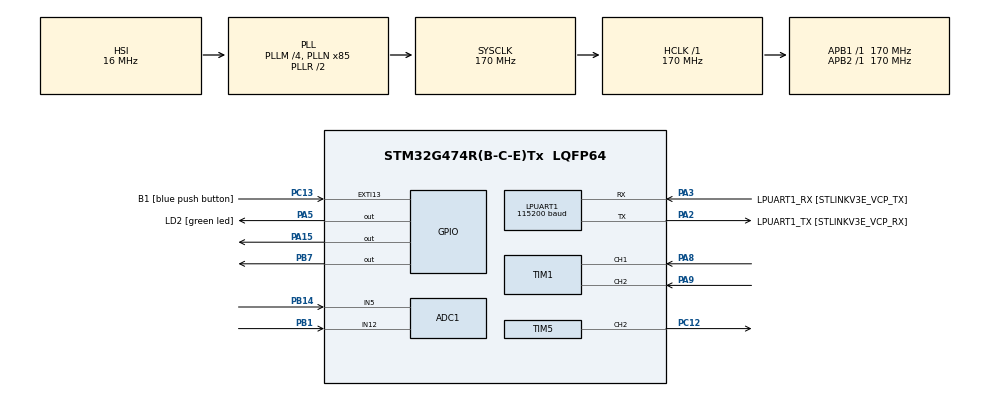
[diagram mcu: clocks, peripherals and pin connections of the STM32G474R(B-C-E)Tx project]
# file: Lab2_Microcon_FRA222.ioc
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ADC1.Channel-2\#ChannelRegularConversion=ADC_CHANNEL_5
ADC1.Channel-3\#ChannelRegularConversion=ADC_CHANNEL_12
ADC1.ContinuousConvMode=ENABLE
ADC1.DMAContinuousRequests=ENABLE
ADC1.NbrOfConversion=2
ADC1.NbrOfConversionFlag=1
ADC1.OffsetNumber-2\#ChannelRegularConversion=ADC_OFFSET_NONE
ADC1.OffsetNumber-3\#ChannelRegularConversion=ADC_OFFSET_NONE
ADC1.Rank-2\#ChannelRegularConversion=1
ADC1.Rank-3\#ChannelRegularConversion=2
ADC1.SamplingTime-2\#ChannelRegularConversion=ADC_SAMPLETIME_640CYCLES_5
ADC1.SamplingTime-3\#ChannelRegularConversion=ADC_SAMPLETIME_640CYCLES_5
ADC1.master=1
ARM.CMSIS-DSP.1.15.0.CMSISJjDSP=Source
ARM.CMSIS.6.0.0.CMSISJjCORE=true
Dma.ADC1.0.Direction=DMA_PERIPH_TO_MEMORY
Dma.ADC1.0.EventEnable=DISABLE
Dma.ADC1.0.Instance=DMA1_Channel1
Dma.ADC1.0.MemDataAlignment=DMA_MDATAALIGN_HALFWORD
Dma.ADC1.0.MemInc=DMA_MINC_ENABLE
Dma.ADC1.0.Mode=DMA_CIRCULAR
Dma.ADC1.0.PeriphDataAlignment=DMA_PDATAALIGN_HALFWORD
Dma.ADC1.0.PeriphInc=DMA_PINC_DISABLE
Dma.ADC1.0.Polarity=HAL_DMAMUX_REQ_GEN_RISING
Dma.ADC1.0.Priority=DMA_PRIORITY_LOW
Dma.ADC1.0.RequestNumber=1
Dma.ADC1.0.SignalID=NONE
Dma.ADC1.0.SyncEnable=DISABLE
Dma.ADC1.0.SyncPolarity=HAL_DMAMUX_SYNC_NO_EVENT
Dma.ADC1.0.SyncRequestNumber=1
Dma.ADC1.0.SyncSignalID=NONE
Dma.Request0=ADC1
LPUART1.BaudRate=115200
LPUART1.WordLength=UART_WORDLENGTH_8B
Mcu.Family=STM32G4
Mcu.Name=STM32G474R(B-C-E)Tx
Mcu.Package=LQFP64
NVIC.ADC1_2_IRQn=true\:0\:0\:false\:false\:true\:true\:true\:true
NVIC.DMA1_Channel1_IRQn=true\:0\:0\:false\:false\:true\:false\:true\:true
NVIC.EXTI15_10_IRQn=true\:0\:0\:false\:false\:true\:true\:true\:true
NVIC.PriorityGroup=NVIC_PRIORITYGROUP_4
NVIC.TIM2_IRQn=true\:0\:0\:false\:false\:true\:true\:true\:true
NVIC.TIM3_IRQn=true\:0\:0\:false\:false\:true\:true\:true\:true
PA0.Signal=ADC1_IN1
PA13.GPIO_Label=T_SWDIO
PA13.Mode=Trace_Asynchronous_SW
PA13.Signal=SYS_JTMS-SWDIO
PA14.GPIO_Label=T_SWCLK
PA14.Mode=Trace_Asynchronous_SW
PA14.Signal=SYS_JTCK-SWCLK
PA15.Signal=GPIO_Output
PA2.GPIO_Label=LPUART1_TX [STLINKV3E_VCP_RX]
PA2.Mode=Asynchronous
PA2.Signal=LPUART1_TX
PA3.GPIO_Label=LPUART1_RX [STLINKV3E_VCP_TX]
PA3.Mode=Asynchronous
PA3.Signal=LPUART1_RX
PA5.GPIO_Label=LD2 [green led]
PA5.Signal=GPIO_Output
PA8.Signal=S_TIM1_CH1
PA9.Signal=S_TIM1_CH2
PB1.Mode=IN12-Single-Ended
PB1.Signal=ADC1_IN12
PB14.Mode=IN5-Single-Ended
PB14.Signal=ADC1_IN5
PB3.GPIO_Label=T_SWO
PB3.Mode=Trace_Asynchronous_SW
PB3.Signal=SYS_JTDO-SWO
PB7.Signal=GPIO_Output
PC12.Signal=S_TIM5_CH2
PC13.GPIO_Label=B1 [blue push button]
PC13.Signal=GPXTI13
PC14-OSC32_IN.Mode=LSE-External-Oscillator
PC14-OSC32_IN.Signal=RCC_OSC32_IN
PC15-OSC32_OUT.Mode=LSE-External-Oscillator
PC15-OSC32_OUT.Signal=RCC_OSC32_OUT
PF0-OSC_IN.Mode=HSE-External-Oscillator
PF0-OSC_IN.Signal=RCC_OSC_IN
PF1-OSC_OUT.Mode=HSE-External-Oscillator
PF1-OSC_OUT.Signal=RCC_OSC_OUT
ProjectManager.HeapSize=0x200
ProjectManager.StackSize=0x400
ProjectManager.TargetToolchain=STM32CubeIDE
RCC.ADC12Freq_Value=170000000
RCC.ADC345Freq_Value=170000000
RCC.AHBFreq_Value=170000000
RCC.APB1Freq_Value=170000000
RCC.APB1TimFreq_Value=170000000
RCC.APB2Freq_Value=170000000
RCC.APB2TimFreq_Value=170000000
RCC.CortexFreq_Value=170000000
RCC.EXTERNAL_CLOCK_VALUE=12288000
RCC.HCLKFreq_Value=170000000
RCC.HSE_VALUE=24000000
RCC.HSI48_VALUE=48000000
RCC.HSI_VALUE=16000000
RCC.PLLM=RCC_PLLM_DIV4
RCC.PLLN=85
RCC.RTCClockSelection=RCC_RTCCLKSOURCE_LSE
RCC.SYSCLKFreq_VALUE=170000000
RCC.SYSCLKSource=RCC_SYSCLKSOURCE_PLLCLK
RCC.USBFreq_Value=170000000
RCC.VCOOutputFreq_Value=340000000
SH.S_TIM1_CH1.0=TIM1_CH1,Encoder_Interface
SH.S_TIM1_CH2.0=TIM1_CH2,Encoder_Interface
SH.S_TIM5_CH2.0=TIM5_CH2,PWM Generation2 CH2
TIM1.EncoderMode=TIM_ENCODERMODE_TI12
TIM1.IC1Filter=2
TIM2.PeriodNoDither=4294967295
TIM2.Prescaler=169
TIM2.TIM_MasterOutputTrigger=TIM_TRGO_RESET
TIM3.PeriodNoDither=999
TIM3.Prescaler=169
TIM3.TIM_MasterOutputTrigger=TIM_TRGO_RESET
TIM5.Channel-PWM\ Generation2\ CH2=TIM_CHANNEL_2
TIM5.PeriodNoDither=29999
TIM5.Prescaler=3
VP_ARM.CMSIS-DSP_VS_CMSISJjDSP_1.15.0_1.15.0.Mode=CMSISJjDSP
VP_ARM.CMSIS_VS_CMSISJjCORE_6.0.0_6.0.0.Mode=CMSISJjCORE
VP_SYS_VS_DBSignals.Mode=DisableDeadBatterySignals
VP_TIM2_VS_ClockSourceINT.Mode=Internal
VP_TIM3_VS_ClockSourceINT.Mode=Internal
VP_TIM5_VS_ClockSourceINT.Mode=Internal
board=NUCLEO-G474RE

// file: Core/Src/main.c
/* USER CODE BEGIN Header */
/**
 ******************************************************************************
 * @file           : main.c
 * @brief          : Main program body
 ******************************************************************************
 * @attention
 *
 * Copyright (c) 2024 STMicroelectronics.
 * All rights reserved.
 *
 * This software is licensed under terms that can be found in the LICENSE file
 * in the root directory of this software component.
 * If no LICENSE file comes with this software, it is provided AS-IS.
 *
 ******************************************************************************
 */
/* USER CODE END Header */
#include "main.h"

/* USER CODE BEGIN Includes */
#include "arm_math.h"
#include "math.h"
/* USER CODE END Includes */

ADC_HandleTypeDef hadc1;
DMA_HandleTypeDef hdma_adc1;

UART_HandleTypeDef hlpuart1;

TIM_HandleTypeDef htim1;
TIM_HandleTypeDef htim2;
TIM_HandleTypeDef htim3;
TIM_HandleTypeDef htim5;

/* USER CODE BEGIN PV */
//int set_pos = 0;
float pi = 3.1415926535897932384626433832795;
//float di_pulley = 24.95;

arm_pid_instance_f32 PID = { 0 };
uint32_t QEI_raw = 0;
float QEI_mm = 0;
float set_point = 0;
float en_motor = 0;
float PWMset = 0;
float diffpos = 0;
uint32_t Vfeedback = 0;
uint8_t condi = 0;

uint16_t ADC[2] = { 0 };

uint16_t sen_top = 0;
uint16_t sen_bot = 0;

uint32_t time = 0;

/*-----------------------------------*/
float32_t kp = 0;
float32_t ki = 0;
float32_t kd = 0;
uint32_t Now = 0;
uint32_t Lastime = 0;
float error = 0;
float errorsum = 0;
float Iterm = 0;
float dinput = 0;
float Lasterror = 0;
float speed = 0;
float LastPos = 0;
float Dis_down = 0;
float dt_velo = 0;
float dt_acc = 0;
uint8_t finish_state = 0;

/*--------------------------------------------------*/
float Vmax = 550.0; // mm/s
float Amax = 900.0; // mm/s^2
float Distance = 0;
float t = 0;
float temp_pos_acc = 0;
float temp_pos_const = 0;
float temp_v_acc = 0;
int temp = 0;
float Distance_Velo_Max = 0;
float traj[3];
float pos = 0;
float trajec_target = 0;

float Time_acc = 0;
float Time_acc_tri = 0;
float Time_dec = 0;
float Time_const = 0;
float time_now = 0;
float Timestamp = 0;
float QEI_start = 0;
float tim_velo_new = 0;
float tim_velo_last = 0;
float tim_acc_new = 0;
float tim_acc_last = 0;
float velo_new = 0;
float velo_last = 0;
float acc = 0;
uint8_t trajec_state = 0;

uint8_t temp_check = 0;
//uint32_t Position[2];
//uint64_t TimeStamp[2];

/* USER CODE END PV */

void SystemClock_Config(void);
static void MX_GPIO_Init(void);
static void MX_DMA_Init(void);
static void MX_LPUART1_UART_Init(void);
static void MX_TIM2_Init(void);
static void MX_ADC1_Init(void);
static void MX_TIM1_Init(void);
static void MX_TIM5_Init(void);
static void MX_TIM3_Init(void);
/* USER CODE BEGIN PFP */
void PID_Tuning();
void sensor();
void reset_pos();
void HomemadePID();
void Trajectory();
void changeUnit();
void speedread();
/* USER CODE END PFP */

int main(void)
{

  /* MCU Configuration--------------------------------------------------------*/

  /* Reset of all peripherals, Initializes the Flash interface and the Systick. */
  HAL_Init();

  /* Configure the system clock */
  SystemClock_Config();

  /* Initialize all configured peripherals */
  MX_GPIO_Init();
  MX_DMA_Init();
  MX_LPUART1_UART_Init();
  MX_TIM2_Init();
  MX_ADC1_Init();
  MX_TIM1_Init();
  MX_TIM5_Init();
  MX_TIM3_Init();
  /* USER CODE BEGIN 2 */
//	PID.Kp = 1;
//	PID.Ki = 0.04291992;
//	PID.Kd = 0;
//	arm_pid_init_f32(&PID, 0);

//	kp = 510;
//	ki = 10;
//	kd = 0.01;

	HAL_TIM_PWM_Start(&htim5, TIM_CHANNEL_2);
	__HAL_TIM_SET_COMPARE(&htim5, TIM_CHANNEL_2, 0);
	HAL_TIM_Base_Start(&htim2);

	HAL_ADCEx_Calibration_Start(&hadc1, ADC_SINGLE_ENDED);
	HAL_ADC_Start_DMA(&hadc1, ADC, 2);
	reset_pos();

	HAL_TIM_Encoder_Start(&htim1,TIM_CHANNEL_ALL);
	trajec_target = -10;

	HAL_TIM_Base_Start_IT(&htim3);

  /* USER CODE END 2 */

  /* Infinite loop */
	while (1) {

    /* USER CODE BEGIN 3 */
//		if(temp == 10){
//			set_point = 300;
//		}
		QEI_raw = __HAL_TIM_GET_COUNTER(&htim1);
		changeUnit();
		sensor();
//		if(sen_top < 2048 || sen_bot < 2048){
//			if(trajec_target >= 0 && trajec_state == 0){
//				QEI_start = QEI_mm;
//			}
//			Trajectory();
//			HomemadePID();
//			speedread();
//		}
//		else if(sen_top > 2048 || sen_bot > 2048){
//			HAL_GPIO_WritePin(GPIOA, GPIO_PIN_15,0);
//			HAL_GPIO_WritePin(GPIOB, GPIO_PIN_7,0);
//			__HAL_TIM_SET_COMPARE(&htim5, TIM_CHANNEL_2,10000);
//		}

		if(trajec_target >= 0 && trajec_state == 0){
			QEI_start = QEI_mm;
		}
		Trajectory();
		HomemadePID();
//		PID_Tuning();
		speedread();
		accelread();

	}
  /* USER CODE END 3 */
}

void SystemClock_Config(void)
{
  RCC_OscInitTypeDef RCC_OscInitStruct = {0};
  RCC_ClkInitTypeDef RCC_ClkInitStruct = {0};

  /** Configure the main internal regulator output voltage
  */
  HAL_PWREx_ControlVoltageScaling(PWR_REGULATOR_VOLTAGE_SCALE1_BOOST);

  /** Initializes the RCC Oscillators according to the specified parameters
  * in the RCC_OscInitTypeDef structure.
  */
  RCC_OscInitStruct.OscillatorType = RCC_OSCILLATORTYPE_HSI;
  RCC_OscInitStruct.HSIState = RCC_HSI_ON;
  RCC_OscInitStruct.HSICalibrationValue = RCC_HSICALIBRATION_DEFAULT;
  RCC_OscInitStruct.PLL.PLLState = RCC_PLL_ON;
  RCC_OscInitStruct.PLL.PLLSource = RCC_PLLSOURCE_HSI;
  RCC_OscInitStruct.PLL.PLLM = RCC_PLLM_DIV4;
  RCC_OscInitStruct.PLL.PLLN = 85;
  RCC_OscInitStruct.PLL.PLLP = RCC_PLLP_DIV2;
  RCC_OscInitStruct.PLL.PLLQ = RCC_PLLQ_DIV2;
  RCC_OscInitStruct.PLL.PLLR = RCC_PLLR_DIV2;
  if (HAL_RCC_OscConfig(&RCC_OscInitStruct) != HAL_OK)
  {
    Error_Handler();
  }

  /** Initializes the CPU, AHB and APB buses clocks
  */
  RCC_ClkInitStruct.ClockType = RCC_CLOCKTYPE_HCLK|RCC_CLOCKTYPE_SYSCLK
                              |RCC_CLOCKTYPE_PCLK1|RCC_CLOCKTYPE_PCLK2;
  RCC_ClkInitStruct.SYSCLKSource = RCC_SYSCLKSOURCE_PLLCLK;
  RCC_ClkInitStruct.AHBCLKDivider = RCC_SYSCLK_DIV1;
  RCC_ClkInitStruct.APB1CLKDivider = RCC_HCLK_DIV1;
  RCC_ClkInitStruct.APB2CLKDivider = RCC_HCLK_DIV1;

  if (HAL_RCC_ClockConfig(&RCC_ClkInitStruct, FLASH_LATENCY_4) != HAL_OK)
  {
    Error_Handler();
  }
}

static void MX_ADC1_Init(void)
{

  ADC_MultiModeTypeDef multimode = {0};
  ADC_ChannelConfTypeDef sConfig = {0};

  /** Common config
  */
  hadc1.Instance = ADC1;
  hadc1.Init.ClockPrescaler = ADC_CLOCK_SYNC_PCLK_DIV4;
  hadc1.Init.Resolution = ADC_RESOLUTION_12B;
  hadc1.Init.DataAlign = ADC_DATAALIGN_RIGHT;
  hadc1.Init.GainCompensation = 0;
  hadc1.Init.ScanConvMode = ADC_SCAN_ENABLE;
  hadc1.Init.EOCSelection = ADC_EOC_SINGLE_CONV;
  hadc1.Init.LowPowerAutoWait = DISABLE;
  hadc1.Init.ContinuousConvMode = ENABLE;
  hadc1.Init.NbrOfConversion = 2;
  hadc1.Init.DiscontinuousConvMode = DISABLE;
  hadc1.Init.ExternalTrigConv = ADC_SOFTWARE_START;
  hadc1.Init.ExternalTrigConvEdge = ADC_EXTERNALTRIGCONVEDGE_NONE;
  hadc1.Init.DMAContinuousRequests = ENABLE;
  hadc1.Init.Overrun = ADC_OVR_DATA_PRESERVED;
  hadc1.Init.OversamplingMode = DISABLE;
  if (HAL_ADC_Init(&hadc1) != HAL_OK)
  {
    Error_Handler();
  }

  /** Configure the ADC multi-mode
  */
  multimode.Mode = ADC_MODE_INDEPENDENT;
  if (HAL_ADCEx_MultiModeConfigChannel(&hadc1, &multimode) != HAL_OK)
  {
    Error_Handler();
  }

  /** Configure Regular Channel
  */
  sConfig.Channel = ADC_CHANNEL_5;
  sConfig.Rank = ADC_REGULAR_RANK_1;
  sConfig.SamplingTime = ADC_SAMPLETIME_640CYCLES_5;
  sConfig.SingleDiff = ADC_SINGLE_ENDED;
  sConfig.OffsetNumber = ADC_OFFSET_NONE;
  sConfig.Offset = 0;
  if (HAL_ADC_ConfigChannel(&hadc1, &sConfig) != HAL_OK)
  {
    Error_Handler();
  }

  /** Configure Regular Channel
  */
  sConfig.Channel = ADC_CHANNEL_12;
  sConfig.Rank = ADC_REGULAR_RANK_2;
  if (HAL_ADC_ConfigChannel(&hadc1, &sConfig) != HAL_OK)
  {
    Error_Handler();
  }

}

static void MX_LPUART1_UART_Init(void)
{

  hlpuart1.Instance = LPUART1;
  hlpuart1.Init.BaudRate = 115200;
  hlpuart1.Init.WordLength = UART_WORDLENGTH_8B;
  hlpuart1.Init.StopBits = UART_STOPBITS_1;
  hlpuart1.Init.Parity = UART_PARITY_NONE;
  hlpuart1.Init.Mode = UART_MODE_TX_RX;
  hlpuart1.Init.HwFlowCtl = UART_HWCONTROL_NONE;
  hlpuart1.Init.OneBitSampling = UART_ONE_BIT_SAMPLE_DISABLE;
  hlpuart1.Init.ClockPrescaler = UART_PRESCALER_DIV1;
  hlpuart1.AdvancedInit.AdvFeatureInit = UART_ADVFEATURE_NO_INIT;
  if (HAL_UART_Init(&hlpuart1) != HAL_OK)
  {
    Error_Handler();
  }
  if (HAL_UARTEx_SetTxFifoThreshold(&hlpuart1, UART_TXFIFO_THRESHOLD_1_8) != HAL_OK)
  {
    Error_Handler();
  }
  if (HAL_UARTEx_SetRxFifoThreshold(&hlpuart1, UART_RXFIFO_THRESHOLD_1_8) != HAL_OK)
  {
    Error_Handler();
  }
  if (HAL_UARTEx_DisableFifoMode(&hlpuart1) != HAL_OK)
  {
    Error_Handler();
  }

}

static void MX_TIM1_Init(void)
{

  TIM_Encoder_InitTypeDef sConfig = {0};
  TIM_MasterConfigTypeDef sMasterConfig = {0};

  htim1.Instance = TIM1;
  htim1.Init.Prescaler = 0;
  htim1.Init.CounterMode = TIM_COUNTERMODE_UP;
  htim1.Init.Period = 65535;
  htim1.Init.ClockDivision = TIM_CLOCKDIVISION_DIV1;
  htim1.Init.RepetitionCounter = 0;
  htim1.Init.AutoReloadPreload = TIM_AUTORELOAD_PRELOAD_DISABLE;
  sConfig.EncoderMode = TIM_ENCODERMODE_TI12;
  sConfig.IC1Polarity = TIM_ICPOLARITY_RISING;
  sConfig.IC1Selection = TIM_ICSELECTION_DIRECTTI;
  sConfig.IC1Prescaler = TIM_ICPSC_DIV1;
  sConfig.IC1Filter = 2;
  sConfig.IC2Polarity = TIM_ICPOLARITY_RISING;
  sConfig.IC2Selection = TIM_ICSELECTION_DIRECTTI;
  sConfig.IC2Prescaler = TIM_ICPSC_DIV1;
  sConfig.IC2Filter = 0;
  if (HAL_TIM_Encoder_Init(&htim1, &sConfig) != HAL_OK)
  {
    Error_Handler();
  }
  sMasterConfig.MasterOutputTrigger = TIM_TRGO_RESET;
  sMasterConfig.MasterOutputTrigger2 = TIM_TRGO2_RESET;
  sMasterConfig.MasterSlaveMode = TIM_MASTERSLAVEMODE_DISABLE;
  if (HAL_TIMEx_MasterConfigSynchronization(&htim1, &sMasterConfig) != HAL_OK)
  {
    Error_Handler();
  }

}

static void MX_TIM2_Init(void)
{

  TIM_ClockConfigTypeDef sClockSourceConfig = {0};
  TIM_MasterConfigTypeDef sMasterConfig = {0};

  htim2.Instance = TIM2;
  htim2.Init.Prescaler = 169;
  htim2.Init.CounterMode = TIM_COUNTERMODE_UP;
  htim2.Init.Period = 4.294967295E9;
  htim2.Init.ClockDivision = TIM_CLOCKDIVISION_DIV1;
  htim2.Init.AutoReloadPreload = TIM_AUTORELOAD_PRELOAD_DISABLE;
  if (HAL_TIM_Base_Init(&htim2) != HAL_OK)
  {
    Error_Handler();
  }
  sClockSourceConfig.ClockSource = TIM_CLOCKSOURCE_INTERNAL;
  if (HAL_TIM_ConfigClockSource(&htim2, &sClockSourceConfig) != HAL_OK)
  {
    Error_Handler();
  }
  sMasterConfig.MasterOutputTrigger = TIM_TRGO_RESET;
  sMasterConfig.MasterSlaveMode = TIM_MASTERSLAVEMODE_DISABLE;
  if (HAL_TIMEx_MasterConfigSynchronization(&htim2, &sMasterConfig) != HAL_OK)
  {
    Error_Handler();
  }

}

static void MX_TIM3_Init(void)
{

  TIM_ClockConfigTypeDef sClockSourceConfig = {0};
  TIM_MasterConfigTypeDef sMasterConfig = {0};

  htim3.Instance = TIM3;
  htim3.Init.Prescaler = 169;
  htim3.Init.CounterMode = TIM_COUNTERMODE_UP;
  htim3.Init.Period = 999;
  htim3.Init.ClockDivision = TIM_CLOCKDIVISION_DIV1;
  htim3.Init.AutoReloadPreload = TIM_AUTORELOAD_PRELOAD_DISABLE;
  if (HAL_TIM_Base_Init(&htim3) != HAL_OK)
  {
    Error_Handler();
  }
  sClockSourceConfig.ClockSource = TIM_CLOCKSOURCE_INTERNAL;
  if (HAL_TIM_ConfigClockSource(&htim3, &sClockSourceConfig) != HAL_OK)
  {
    Error_Handler();
  }
  sMasterConfig.MasterOutputTrigger = TIM_TRGO_RESET;
  sMasterConfig.MasterSlaveMode = TIM_MASTERSLAVEMODE_DISABLE;
  if (HAL_TIMEx_MasterConfigSynchronization(&htim3, &sMasterConfig) != HAL_OK)
  {
    Error_Handler();
  }

}

static void MX_TIM5_Init(void)
{

  TIM_ClockConfigTypeDef sClockSourceConfig = {0};
  TIM_MasterConfigTypeDef sMasterConfig = {0};
  TIM_OC_InitTypeDef sConfigOC = {0};

  htim5.Instance = TIM5;
  htim5.Init.Prescaler = 3;
  htim5.Init.CounterMode = TIM_COUNTERMODE_UP;
  htim5.Init.Period = 29999;
  htim5.Init.ClockDivision = TIM_CLOCKDIVISION_DIV1;
  htim5.Init.AutoReloadPreload = TIM_AUTORELOAD_PRELOAD_DISABLE;
  if (HAL_TIM_Base_Init(&htim5) != HAL_OK)
  {
    Error_Handler();
  }
  sClockSourceConfig.ClockSource = TIM_CLOCKSOURCE_INTERNAL;
  if (HAL_TIM_ConfigClockSource(&htim5, &sClockSourceConfig) != HAL_OK)
  {
    Error_Handler();
  }
  if (HAL_TIM_PWM_Init(&htim5) != HAL_OK)
  {
    Error_Handler();
  }
  sMasterConfig.MasterOutputTrigger = TIM_TRGO_RESET;
  sMasterConfig.MasterSlaveMode = TIM_MASTERSLAVEMODE_DISABLE;
  if (HAL_TIMEx_MasterConfigSynchronization(&htim5, &sMasterConfig) != HAL_OK)
  {
    Error_Handler();
  }
  sConfigOC.OCMode = TIM_OCMODE_PWM1;
  sConfigOC.Pulse = 0;
  sConfigOC.OCPolarity = TIM_OCPOLARITY_HIGH;
  sConfigOC.OCFastMode = TIM_OCFAST_DISABLE;
  if (HAL_TIM_PWM_ConfigChannel(&htim5, &sConfigOC, TIM_CHANNEL_2) != HAL_OK)
  {
    Error_Handler();
  }
  HAL_TIM_MspPostInit(&htim5);

}

static void MX_DMA_Init(void)
{

  /* DMA controller clock enable */
  __HAL_RCC_DMAMUX1_CLK_ENABLE();
  __HAL_RCC_DMA1_CLK_ENABLE();

  /* DMA interrupt init */
  /* DMA1_Channel1_IRQn interrupt configuration */
  HAL_NVIC_SetPriority(DMA1_Channel1_IRQn, 0, 0);
  HAL_NVIC_EnableIRQ(DMA1_Channel1_IRQn);

}

static void MX_GPIO_Init(void)
{
  GPIO_InitTypeDef GPIO_InitStruct = {0};

  /* GPIO Ports Clock Enable */
  __HAL_RCC_GPIOC_CLK_ENABLE();
  __HAL_RCC_GPIOF_CLK_ENABLE();
  __HAL_RCC_GPIOA_CLK_ENABLE();
  __HAL_RCC_GPIOB_CLK_ENABLE();

  /*Configure GPIO pin Output Level */
  HAL_GPIO_WritePin(GPIOA, LD2_Pin|GPIO_PIN_15, GPIO_PIN_RESET);

  /*Configure GPIO pin Output Level */
  HAL_GPIO_WritePin(GPIOB, GPIO_PIN_7, GPIO_PIN_RESET);

  /*Configure GPIO pin : B1_Pin */
  GPIO_InitStruct.Pin = B1_Pin;
  GPIO_InitStruct.Mode = GPIO_MODE_IT_RISING;
  GPIO_InitStruct.Pull = GPIO_NOPULL;
  HAL_GPIO_Init(B1_GPIO_Port, &GPIO_InitStruct);

  /*Configure GPIO pins : LD2_Pin PA15 */
  GPIO_InitStruct.Pin = LD2_Pin|GPIO_PIN_15;
  GPIO_InitStruct.Mode = GPIO_MODE_OUTPUT_PP;
  GPIO_InitStruct.Pull = GPIO_NOPULL;
  GPIO_InitStruct.Speed = GPIO_SPEED_FREQ_LOW;
  HAL_GPIO_Init(GPIOA, &GPIO_InitStruct);

  /*Configure GPIO pin : PB7 */
  GPIO_InitStruct.Pin = GPIO_PIN_7;
  GPIO_InitStruct.Mode = GPIO_MODE_OUTPUT_PP;
  GPIO_InitStruct.Pull = GPIO_NOPULL;
  GPIO_InitStruct.Speed = GPIO_SPEED_FREQ_LOW;
  HAL_GPIO_Init(GPIOB, &GPIO_InitStruct);

  /* EXTI interrupt init*/
  HAL_NVIC_SetPriority(EXTI15_10_IRQn, 0, 0);
  HAL_NVIC_EnableIRQ(EXTI15_10_IRQn);

}

/* USER CODE BEGIN 4 */

/*
void PID_Tuning(){
		set_point = traj[0];
		Now = __HAL_TIM_GET_COUNTER(&htim2);
		diffpos = set_point - QEI_mm;
		if(diffpos > 32768)
			diffpos -= 65536;
		if(diffpos < -32768)
			diffpos += 65536;

		if(diffpos > 0){
			HAL_GPIO_WritePin(GPIOA, GPIO_PIN_15,0);
			HAL_GPIO_WritePin(GPIOB, GPIO_PIN_7,1);
		}
		else if(diffpos < 0){
			HAL_GPIO_WritePin(GPIOA, GPIO_PIN_15,1);
			HAL_GPIO_WritePin(GPIOB, GPIO_PIN_7,0);
			diffpos = diffpos*-1;
		}
		else if(diffpos == 0){
			HAL_GPIO_WritePin(GPIOA, GPIO_PIN_15,0);
			HAL_GPIO_WritePin(GPIOB, GPIO_PIN_7,0);
		}

		Vfeedback = arm_pid_f32(&PID, diffpos);

		PWMset = (Vfeedback/65536.0)*30000;
//		if(diffpos > -60 && diffpos < 60 && time > 0){
//			PWMset = PWMset/((Now-time)/1000000);
//		}
		__HAL_TIM_SET_COMPARE(&htim5, TIM_CHANNEL_2, PWMset);
}
//*/

void sensor() {
	sen_top = ADC[0];
	sen_bot = ADC[1];
}

void reset_pos(){
	set_point = 0;
	time = 0;
	while(sen_bot < 2048){
		sensor();
		HAL_GPIO_WritePin(GPIOA, GPIO_PIN_15,1);
		HAL_GPIO_WritePin(GPIOB, GPIO_PIN_7,0);
		__HAL_TIM_SET_COMPARE(&htim5, TIM_CHANNEL_2,7500);
	}
	HAL_GPIO_WritePin(GPIOA, GPIO_PIN_15,0);
	HAL_GPIO_WritePin(GPIOB, GPIO_PIN_7,0);
	__HAL_TIM_SET_COMPARE(&htim5, TIM_CHANNEL_2,30000);
	HAL_Delay(250);

	sensor();
	HAL_GPIO_WritePin(GPIOA, GPIO_PIN_15,0);
	HAL_GPIO_WritePin(GPIOB, GPIO_PIN_7,1);
	__HAL_TIM_SET_COMPARE(&htim5, TIM_CHANNEL_2,10000);
	HAL_Delay(1500);

	sensor();
	HAL_GPIO_WritePin(GPIOA, GPIO_PIN_15,1);
	HAL_GPIO_WritePin(GPIOB, GPIO_PIN_7,0);
	__HAL_TIM_SET_COMPARE(&htim5, TIM_CHANNEL_2,7000);
	HAL_Delay(500);
	while(sen_bot < 2048){
		sensor();
		__HAL_TIM_SET_COMPARE(&htim5, TIM_CHANNEL_2,4300);
	}
	HAL_GPIO_WritePin(GPIOA, GPIO_PIN_15,0);
	HAL_GPIO_WritePin(GPIOB, GPIO_PIN_7,0);
	__HAL_TIM_SET_COMPARE(&htim5, TIM_CHANNEL_2,10000);
	HAL_Delay(1000);
}

void HAL_GPIO_EXTI_Callback(uint16_t GPIO_Pin)
{
	if(GPIO_Pin == GPIO_PIN_13)
	{
		condi++;
		if(condi % 3 == 1){
			trajec_target = 600;
		} else if(condi % 3 == 2){
			trajec_target = 200;
		} else if(condi % 3 == 0){
			trajec_target = 0;
		}
	}
}

void changeUnit(){
	QEI_mm = (QEI_raw/8192.0)*25.326*pi;
}

void HomemadePID(){
//	Now Lastime error errorsum kp ki kd Iterm dinput Lasterror
	set_point = traj[0];
	static uint32_t timestamp = 0;
	if (timestamp < __HAL_TIM_GET_COUNTER(&htim2)) {
		timestamp = __HAL_TIM_GET_COUNTER(&htim2) + 1000;
		Now = __HAL_TIM_GET_COUNTER(&htim2);
		error = set_point - QEI_mm;
		finish_state = 0;

		if(error < 1 && error > -1){
			errorsum = 0;
			finish_state = 1;
			HAL_GPIO_WritePin(GPIOA, GPIO_PIN_15,0);
			HAL_GPIO_WritePin(GPIOB, GPIO_PIN_7,0);
			__HAL_TIM_SET_COMPARE(&htim5, TIM_CHANNEL_2,30000);
		}
		else if(error < 11 && error > -11){
			errorsum += 15;
		}

		if(error > 32768)
			error -= 65536;
		if(error < -32768)
			error += 65536;

		if(error > 0){
			HAL_GPIO_WritePin(GPIOA, GPIO_PIN_15,0);
			HAL_GPIO_WritePin(GPIOB, GPIO_PIN_7,1);
			errorsum = errorsum + (error*(Now-Lastime)/10000);
			Iterm = ki*errorsum;
			if(Iterm > 65535){
				errorsum = (Iterm/ki) - (error*(Now-Lastime));
			}

			dinput = (error-Lasterror)/(Now-Lastime);
			Vfeedback = (kp*error)+(ki*errorsum)+(kd*dinput);
			if(Vfeedback > 65536){
				Vfeedback = 65536;
			}

			PWMset = (Vfeedback/65536.0)*30000;
		}
		else if(error < 0){
			HAL_GPIO_WritePin(GPIOA, GPIO_PIN_15,1);
			HAL_GPIO_WritePin(GPIOB, GPIO_PIN_7,0);
			error = error*(-1);

//			if(t < Time_acc_tri){
//				PWMset = 8000;
//			} else{
				errorsum = errorsum + (error*(Now-Lastime)/10000);
				Iterm = ki*errorsum;
				if(Iterm > 65535){
					errorsum = (Iterm/ki) - (error*(Now-Lastime));
				}
				dinput = (error-Lasterror)/(Now-Lastime);
				Vfeedback = (kp*error)+(ki*errorsum)+(kd*dinput);
				if(Vfeedback > 65536){
					Vfeedback = 65536;
				}

				PWMset = (Vfeedback/65536.0)*30000;
				if(PWMset > 8000){
					PWMset = 8000;
				}
//				PWMset = 4000;
//			}
		}
		else if(error == 0){
			HAL_GPIO_WritePin(GPIOA, GPIO_PIN_15,0);
			HAL_GPIO_WritePin(GPIOB, GPIO_PIN_7,0);
		}

		__HAL_TIM_SET_COMPARE(&htim5, TIM_CHANNEL_2, PWMset);

		Lastime = Now;
		Lasterror = error;
	}
}

void speedread(){
	static uint32_t Timestamp = 0;
	if (Timestamp < __HAL_TIM_GET_COUNTER(&htim2)) {
		Timestamp = __HAL_TIM_GET_COUNTER(&htim2) + 10000;
		QEI_raw = __HAL_TIM_GET_COUNTER(&htim1);
		changeUnit();
		tim_velo_new = __HAL_TIM_GET_COUNTER(&htim2);
		dt_velo = (tim_velo_new - tim_velo_last)/1000000.0;
		speed = (QEI_mm - LastPos)/dt_velo;

		LastPos = QEI_mm;
		tim_velo_last = tim_velo_new;
	}
}

void accelread(){
	static uint32_t TimesTamp = 0;
	if (TimesTamp < __HAL_TIM_GET_COUNTER(&htim2)) {
		TimesTamp = __HAL_TIM_GET_COUNTER(&htim2) + 40000;

		tim_acc_new = __HAL_TIM_GET_COUNTER(&htim2);
		velo_new = speed;
		dt_acc = (tim_acc_new - tim_acc_last)/1000000.0;
		acc = (velo_new - velo_last)/dt_acc;

		velo_last = velo_new;
		tim_acc_last = tim_acc_new;
	}
}

void Trajectory(){
	Distance = trajec_target - QEI_start;
	Time_acc = Vmax / Amax;
	Time_dec = Time_acc;

	time_now = __HAL_TIM_GET_COUNTER(&htim2);

	if(trajec_target >= 0 && trajec_state == 0){
		trajec_state = 1;
		Timestamp = time_now;
		QEI_start = QEI_mm;
		pos = QEI_start;
	}
	else if(Distance > 0 && trajec_state == 1){	//Run Up
		kp = 900;
		ki = 7;
		kd = 1;
		Distance_Velo_Max = -(Vmax*Time_acc) + Distance ;
		t = (time_now - Timestamp)/1000000.0;  //s
		if(Distance_Velo_Max > 0){						//Trapezoi
			temp_check = 1;
			Time_const = Distance_Velo_Max/Vmax;
			if(t < Time_acc){
				traj[2] = Amax;
				traj[1] = Amax*t;
				traj[0] = (Amax/2.0)*t*t + pos;
				temp_pos_acc = traj[0];
			}
			else if(t < Time_const+Time_acc){
				traj[2] = 0;
				traj[1] = Vmax;
				traj[0] = (Vmax*(t-Time_acc)) + temp_pos_acc;
				temp_pos_const = traj[0];
			}
			else if(t < Time_const+Time_acc+Time_dec){
				traj[2] = -Amax;
				traj[1] = (traj[2]*(t-Time_const-Time_acc)) + Vmax;
				traj[0] = ((Amax/2)*(t-Time_const-Time_acc)*(t-Time_const-Time_acc))+(traj[1]*(t-Time_const-Time_acc))+temp_pos_const;
			}
			else{
				trajec_state = 0;
				trajec_target = -10;
				traj[2] = 0;
				temp_pos_acc = 0;
				temp_pos_const = 0;
			}
		}
		else if(Distance_Velo_Max <= 0){				//Triangle
			temp_check = 2;
			Time_acc_tri = sqrt(Distance/Amax);
			if(t < Time_acc_tri){
				traj[2] = Amax;
				traj[1] = Amax*t;
				traj[0] = (Amax/2.0)*t*t + pos;
				temp_pos_acc = traj[0];
				temp_v_acc = traj[1];
			}
			else if(t < Time_acc_tri*2){
				traj[2] = -Amax;
				traj[1] = temp_v_acc - (Amax*(t-Time_acc_tri));
				traj[0] = ((Amax/2.0)*(t-Time_acc_tri)*(t-Time_acc_tri))+(traj[1]*(t-Time_acc_tri))+temp_pos_acc;
			}
			else{
				trajec_state = 0;
				trajec_target = -10;
				traj[2] = 0;
				Time_acc_tri = 0;
				temp_pos_acc = 0;
				temp_v_acc = 0;
			}
		}
	}
	else if(Distance < 0 && trajec_state == 1){        		// Run Down
		kp = 900;
		ki = 10;
		kd = 0;
		Distance_Velo_Max = (Vmax*Time_acc) + Distance ;
		t = (time_now - Timestamp)/1000000.0;  //s
		if(Distance_Velo_Max < 0){							//Trapezoi
			temp_check = 3;
			Time_const = Distance_Velo_Max/Vmax;
			if(t < Time_acc){
				traj[2] = -Amax;
				traj[1] = -Amax*t;
				traj[0] = (-Amax/2.0)*t*t + pos;
				temp_pos_acc = traj[0];
			}
			else if(t < Time_const+Time_acc){
				traj[2] = 0;
				traj[1] = -Vmax;
				traj[0] = (-Vmax*(t-Time_acc)) + temp_pos_acc;
				temp_pos_const = traj[0];
			}
			else if(t < Time_const+Time_acc+Time_dec){
				traj[2] = Amax;
				traj[1] = (traj[2]*(t-Time_const-Time_acc)) - Vmax;
				traj[0] = ((Amax/2)*(t-Time_const-Time_acc)*(t-Time_const-Time_acc))+(traj[1]*(t-Time_const-Time_acc))+temp_pos_const;
			}
			else{
				trajec_state = 0;
				trajec_target = -10;
				traj[2] = 0;
				temp_pos_acc = 0;
				temp_pos_const = 0;
			}
		}
		else if(Distance_Velo_Max >= 0){					//Triangle
			temp_check = 4;
			Time_acc_tri = sqrt(-Distance/Amax);
			if(t < Time_acc_tri){
				traj[2] = -Amax;
				traj[1] = -Amax*t;
				traj[0] = (-Amax/2.0)*t*t + pos;
				temp_pos_acc = traj[0];
				temp_v_acc = traj[1];
			}
			else if(t < Time_acc_tri*2){
				traj[2] = Amax;
				traj[1] = temp_v_acc + (Amax*(t-Time_acc_tri));
				traj[0] = ((-Amax/2.0)*(t-Time_acc_tri)*(t-Time_acc_tri))+(traj[1]*(t-Time_acc_tri))+temp_pos_acc;
			}
			else{
				trajec_state = 0;
				trajec_target = -10;
				traj[2] = 0;
				Time_acc_tri = 0;
				temp_pos_acc = 0;
				temp_v_acc = 0;
			}
		}
	}
}

/* USER CODE END 4 */

void Error_Handler(void)
{
	__disable_irq();
	while (1) {
	}
}
